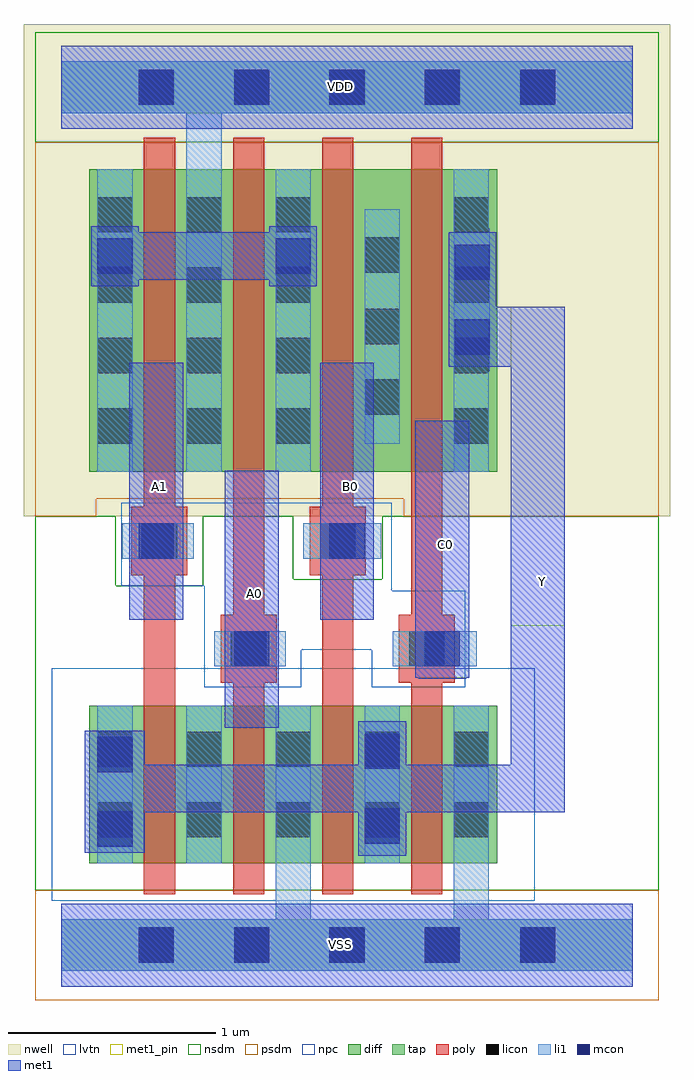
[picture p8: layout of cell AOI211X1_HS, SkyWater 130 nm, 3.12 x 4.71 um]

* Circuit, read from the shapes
.subckt AOI211X1_HS A0 A1 B0 C0 VDD VSS Y
XM1 n1 A1 Y VSS sky130_fd_pr__nfet_01v8_lvt w=0.76 l=0.15
XM2 VSS A0 n1 VSS sky130_fd_pr__nfet_01v8_lvt w=0.76 l=0.15
XM3 Y B0 VSS VSS sky130_fd_pr__nfet_01v8_lvt w=0.76 l=0.15
XM4 VSS C0 Y VSS sky130_fd_pr__nfet_01v8_lvt w=0.76 l=0.15
XM5 VDD A1 n2 VDD sky130_fd_pr__pfet_01v8 w=1.46 l=0.15
XM6 n2 A0 VDD VDD sky130_fd_pr__pfet_01v8 w=1.46 l=0.15
XM7 n3 B0 n2 VDD sky130_fd_pr__pfet_01v8 w=1.46 l=0.15
XM8 Y C0 n3 VDD sky130_fd_pr__pfet_01v8 w=1.46 l=0.15
.ends

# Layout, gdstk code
from math import pi, radians
import gdstk
lib = gdstk.Library(unit=1e-6, precision=1e-09)
def R(c, l, rs):  # rectangles x0, y0, x1, y1
    for r in rs: c.add(gdstk.rectangle(r[:2], r[2:], *l))
def A(c, l, x, y, w, h, nx, ny, dx, dy):  # array of equal rectangles
    R(c, l, [(x+i*dx, y+j*dy, x+i*dx+w, y+j*dy+h) for i in range(nx) for j in range(ny)])
def P(c, l, *ps):  # polygons
    for p in ps: c.add(gdstk.Polygon(p, *l))
nwell = (64, 20)
diff = (65, 20)
tap = (65, 44)
poly = (66, 20)
licon = (66, 44)
li1 = (67, 20)
mcon = (67, 44)
met1_pin = (68, 16)
met1 = (68, 20)
nsdm = (93, 44)
psdm = (94, 20)
npc = (95, 20)
lvtn = (125, 44)

licondiff_c_cdns_7507217 = lib.new_cell('LICONDIFF_C_CDNS_750721774075')
R(licondiff_c_cdns_7507217, diff, [(-0.125,-0.145,0.125,0.145)])
R(licondiff_c_cdns_7507217, licon, [(-0.085,-0.085,0.085,0.085), (-0.085,-0.085,0.085,0.085)])

l1m1_c_cdns_750721774072 = lib.new_cell('L1M1_C_CDNS_750721774072')
R(l1m1_c_cdns_750721774072, li1, [(-0.085,-0.165,0.085,0.165)])
R(l1m1_c_cdns_750721774072, mcon, [(-0.085,-0.085,0.085,0.085)])
R(l1m1_c_cdns_750721774072, met1, [(-0.115,-0.145,0.115,0.145)])

l1m1_c_cdns_750721774071 = lib.new_cell('L1M1_C_CDNS_7507217740714')
R(l1m1_c_cdns_750721774071, li1, [(-0.345,-0.085,0.345,0.085)])
R(l1m1_c_cdns_750721774071, mcon, [(-0.265,-0.085,-0.095,0.085), (0.095,-0.085,0.265,0.085)])
R(l1m1_c_cdns_750721774071, met1, [(-0.295,-0.145,0.295,0.145)])

l1m1_c_cdns_750721774076 = lib.new_cell('L1M1_C_CDNS_750721774076')
R(l1m1_c_cdns_750721774076, li1, [(-0.085,-0.345,0.085,0.345)])
R(l1m1_c_cdns_750721774076, mcon, [(-0.085,-0.265,0.085,-0.095), (-0.085,0.095,0.085,0.265)])
R(l1m1_c_cdns_750721774076, met1, [(-0.115,-0.325,0.115,0.325)])

l1m1_c_cdns_750721774074 = lib.new_cell('L1M1_C_CDNS_750721774074')
R(l1m1_c_cdns_750721774074, li1, [(-0.165,-0.085,0.165,0.085)])
R(l1m1_c_cdns_750721774074, mcon, [(-0.085,-0.085,0.085,0.085)])
R(l1m1_c_cdns_750721774074, met1, [(-0.115,-0.145,0.115,0.145)])

pyl1con_c_cdns_750721774 = lib.new_cell('PYL1CON_C_CDNS_750721774073')
R(pyl1con_c_cdns_750721774, poly, [(-0.135,-0.165,0.135,0.165)])
R(pyl1con_c_cdns_750721774, licon, [(-0.085,-0.085,0.085,0.085)])
R(pyl1con_c_cdns_750721774, npc, [(-0.185,-0.185,0.185,0.185)])

aoi211x1_hs = lib.new_cell('AOI211X1_HS')
R(aoi211x1_hs, nwell, [(-0.18,2.07,2.94,4.305), (-0.045,2.105,0.785,3.925), (0.425,2.105,1.385,3.925), (1.025,2.105,1.815,3.925), (1.455,2.105,2.285,3.925), (-0.18,3.875,2.94,4.445)])
A(aoi211x1_hs, diff, 0.4, 0.395, 0.15, 0.76, 4, 1, 0.43, 0)
A(aoi211x1_hs, diff, 0.4, 2.285, 0.15, 1.46, 4, 1, 0.43, 0)
R(aoi211x1_hs, diff, [(0.135,0.395,0.4,1.155), (0.55,0.395,0.605,1.155), (0.605,0.395,0.83,1.155), (0.98,0.395,1.205,1.155), (1.205,0.395,1.26,1.155), (1.41,0.395,1.635,1.155), (1.635,0.395,1.69,1.155), (1.84,0.395,2.105,1.155), (0.135,2.285,0.4,3.745), (0.55,2.285,0.605,3.745), (0.605,2.285,0.83,3.745), (0.98,2.285,1.205,3.745), (1.205,2.285,1.26,3.745), (1.41,2.285,1.635,3.745), (1.635,2.285,1.69,3.745), (1.84,2.285,2.105,3.745)])
A(aoi211x1_hs, poly, 0.4, 0.245, 0.15, 0.055, 4, 2, 0.43, 1.005)
A(aoi211x1_hs, poly, 0.4, 0.3, 0.15, 0.095, 4, 2, 0.43, 0.855)
A(aoi211x1_hs, poly, 0.4, 0.395, 0.15, 0.76, 4, 1, 0.43, 0)
A(aoi211x1_hs, poly, 0.4, 2.135, 0.15, 0.055, 4, 2, 0.43, 1.705)
A(aoi211x1_hs, poly, 0.4, 2.19, 0.15, 0.095, 4, 2, 0.43, 1.555)
A(aoi211x1_hs, poly, 0.4, 2.285, 0.15, 1.46, 4, 1, 0.43, 0)
A(aoi211x1_hs, licon, 0.375, -0.085, 0.17, 0.17, 5, 2, 0.46, 4.14)
A(aoi211x1_hs, licon, 1.035, 0.52, 0.17, 0.17, 3, 2, 0.43, 0.34)
A(aoi211x1_hs, licon, 0.175, 2.42, 0.17, 0.17, 3, 4, 0.43, 0.34)
A(aoi211x1_hs, licon, 1.895, 2.42, 0.17, 0.17, 1, 4, 0, 0.34)
R(aoi211x1_hs, licon, [(0.175,0.52,0.345,0.69), (0.175,0.86,0.345,1.03)])
A(aoi211x1_hs, li1, 1.035, 0.395, 0.17, 0.76, 3, 1, 0.43, 0)
A(aoi211x1_hs, li1, 0.175, 2.285, 0.17, 1.46, 3, 1, 0.43, 0)
R(aoi211x1_hs, li1, [(0.175,0.395,0.345,1.155), (1.895,2.285,2.065,3.745)])
A(aoi211x1_hs, mcon, 0.375, -0.085, 0.17, 0.17, 5, 2, 0.46, 4.14)
R(aoi211x1_hs, met1_pin, [(0.79,1.05,1.05,2.29), (1.71,1.29,1.97,2.53), (2.17,1.54,2.43,3.08), (0.33,1.57,0.59,2.81), (1.25,1.57,1.51,2.81)])
R(aoi211x1_hs, met1, [(1.87,2.79,2.43,3.08)])
R(aoi211x1_hs, nsdm, [(-0.005,0.265,0.615,1.285), (0.595,0.265,1.215,1.285), (1.195,0.265,1.645,1.285), (1.625,0.265,2.245,1.285), (-0.125,3.875,2.885,4.405), (-0.125,3.93,2.885,4.35)])
P(aoi211x1_hs, nsdm, [(2.885,2.07),(1.55,2.07),(1.55,1.765),(1.12,1.765),(1.12,2.07),(0.685,2.07),(0.685,1.735),(0.265,1.735),(0.265,2.07),(-0.125,2.07),(-0.125,0.265),(2.885,0.265)])
R(aoi211x1_hs, psdm, [(-0.125,-0.265,2.885,0.265), (-0.125,-0.21,2.885,0.21), (-0.005,2.155,0.615,3.875), (0.595,2.155,1.215,3.875), (1.195,2.155,1.645,3.875), (1.625,2.155,2.245,3.875)])
P(aoi211x1_hs, psdm, [(2.885,3.875),(-0.125,3.875),(-0.125,2.07),(0.17,2.07),(0.17,2.155),(1.655,2.155),(1.655,2.07),(2.885,2.07)])
P(aoi211x1_hs, npc, [(1.95,1.71),(1.595,1.71),(1.595,2.135),(0.29,2.135),(0.29,1.735),(0.69,1.735),(0.69,1.245),(1.16,1.245),(1.16,1.425),(1.5,1.425),(1.5,1.245),(1.95,1.245)])
R(aoi211x1_hs, lvtn, [(-0.045,0.215,0.785,1.335), (0.425,0.215,1.385,1.335), (1.025,0.215,1.815,1.335), (1.455,0.215,2.285,1.335)])
aoi211x1_hs.add(gdstk.FlexPath([(0,0),(2.76,0)], 0.25, ends="flush", simple_path=True, layer=65, datatype=44))  # tap
aoi211x1_hs.add(gdstk.FlexPath([(0,4.14),(2.76,4.14)], 0.25, ends="flush", simple_path=True, layer=65, datatype=44))  # tap
aoi211x1_hs.add(gdstk.FlexPath([(1.765,2.27),(1.765,1.295)], 0.15, ends="flush", simple_path=True, layer=66, datatype=20))  # poly
aoi211x1_hs.add(gdstk.FlexPath([(0.475,2.27),(0.475,1.15)], 0.15, ends="flush", simple_path=True, layer=66, datatype=20))  # poly
aoi211x1_hs.add(gdstk.FlexPath([(0.905,2.27),(0.905,1.19)], 0.15, ends="flush", simple_path=True, layer=66, datatype=20))  # poly
aoi211x1_hs.add(gdstk.FlexPath([(1.335,2.27),(1.335,1.235)], 0.15, ends="flush", simple_path=True, layer=66, datatype=20))  # poly
aoi211x1_hs.add(gdstk.FlexPath([(1.98,0.59),(1.98,0)], 0.17, ends="flush", simple_path=True, layer=67, datatype=20))  # li1
aoi211x1_hs.add(gdstk.FlexPath([(1.12,0.59),(1.12,0)], 0.17, ends="flush", simple_path=True, layer=67, datatype=20))  # li1
aoi211x1_hs.add(gdstk.FlexPath([(2.47,0),(2.76,0)], 0.25, ends=(0.085, 0), simple_path=True, layer=67, datatype=20))  # li1
aoi211x1_hs.add(gdstk.FlexPath([(1.61,0),(2.47,0)], 0.25, ends=(0.085, 0.085), simple_path=True, layer=67, datatype=20))  # li1
aoi211x1_hs.add(gdstk.FlexPath([(0.69,0),(1.61,0)], 0.25, ends=(0.085, 0.085), simple_path=True, layer=67, datatype=20))  # li1
aoi211x1_hs.add(gdstk.FlexPath([(0,0),(0.69,0)], 0.25, ends=(0, 0.085), simple_path=True, layer=67, datatype=20))  # li1
aoi211x1_hs.add(gdstk.FlexPath([(0.69,3.55),(0.69,4.14)], 0.17, ends=(0, 0.125), simple_path=True, layer=67, datatype=20))  # li1
aoi211x1_hs.add(gdstk.FlexPath([(1.84,1.43),(1.6,1.43)], 0.17, ends="flush", simple_path=True, layer=67, datatype=20))  # li1
aoi211x1_hs.add(gdstk.FlexPath([(1.38,1.95),(1.17,1.95)], 0.17, ends="flush", simple_path=True, layer=67, datatype=20))  # li1
aoi211x1_hs.add(gdstk.FlexPath([(0.69,0.825),(0.69,1.14)], 0.17, ends="flush", simple_path=True, layer=67, datatype=20))  # li1
aoi211x1_hs.add(gdstk.FlexPath([(2.47,4.14),(2.76,4.14)], 0.25, ends=(0.085, 0), simple_path=True, layer=67, datatype=20))  # li1
aoi211x1_hs.add(gdstk.FlexPath([(0.92,1.43),(0.74,1.43)], 0.17, ends="flush", simple_path=True, layer=67, datatype=20))  # li1
aoi211x1_hs.add(gdstk.FlexPath([(0.46,1.95),(0.64,1.95)], 0.17, ends="flush", simple_path=True, layer=67, datatype=20))  # li1
aoi211x1_hs.add(gdstk.FlexPath([(1.61,4.14),(2.47,4.14)], 0.25, ends=(0.085, 0.085), simple_path=True, layer=67, datatype=20))  # li1
aoi211x1_hs.add(gdstk.FlexPath([(0.69,0.71),(0.69,1.155)], 0.17, ends="flush", simple_path=True, layer=67, datatype=20))  # li1
aoi211x1_hs.add(gdstk.FlexPath([(0,4.14),(0.69,4.14)], 0.25, ends=(0, 0.085), simple_path=True, layer=67, datatype=20))  # li1
aoi211x1_hs.add(gdstk.FlexPath([(0.69,4.14),(1.61,4.14)], 0.25, ends=(0.085, 0.085), simple_path=True, layer=67, datatype=20))  # li1
aoi211x1_hs.add(gdstk.FlexPath([(1.55,2.42),(1.55,3.55)], 0.17, ends="flush", simple_path=True, layer=67, datatype=20))  # li1
aoi211x1_hs.add(gdstk.FlexPath([(0.69,0.395),(0.69,0.71)], 0.17, ends="flush", simple_path=True, layer=67, datatype=20))  # li1
aoi211x1_hs.add(gdstk.FlexPath([(0,0),(2.76,0)], 0.4, ends="flush", simple_path=True, layer=68, datatype=20))  # met1
aoi211x1_hs.add(gdstk.FlexPath([(0,4.14),(2.76,4.14)], 0.4, ends="flush", simple_path=True, layer=68, datatype=20))  # met1
aoi211x1_hs.add(gdstk.FlexPath([(1.55,0.755),(0.26,0.755)], 0.23, ends="flush", simple_path=True, layer=68, datatype=20))  # met1
aoi211x1_hs.add(gdstk.FlexPath([(2.3,0.785),(2.3,0.64)], 0.26, ends=(0.145, 0), simple_path=True, layer=68, datatype=20))  # met1
aoi211x1_hs.add(gdstk.FlexPath([(0.46,2.81),(0.46,1.57)], 0.26, ends="flush", simple_path=True, layer=68, datatype=20))  # met1
aoi211x1_hs.add(gdstk.FlexPath([(1.38,2.81),(1.38,1.57)], 0.26, ends="flush", simple_path=True, layer=68, datatype=20))  # met1
aoi211x1_hs.add(gdstk.FlexPath([(1.84,2.53),(1.84,1.29)], 0.26, ends="flush", simple_path=True, layer=68, datatype=20))  # met1
aoi211x1_hs.add(gdstk.FlexPath([(0.92,2.29),(0.92,1.05)], 0.26, ends="flush", simple_path=True, layer=68, datatype=20))  # met1
aoi211x1_hs.add(gdstk.FlexPath([(0.26,3.325),(1.12,3.325)], 0.23, ends="flush", simple_path=True, layer=68, datatype=20))  # met1
aoi211x1_hs.add(gdstk.FlexPath([(2.135,0.755),(1.55,0.755)], 0.23, ends=(0.115, 0), simple_path=True, layer=68, datatype=20))  # met1
aoi211x1_hs.add(gdstk.FlexPath([(2.3,3.08),(2.3,0.785)], 0.26, ends=(0, 0.145), simple_path=True, layer=68, datatype=20))  # met1
aoi211x1_hs.add(gdstk.FlexPath([(0,4.14),(2.76,4.14)], 0.4, ends="flush", simple_path=True, layer=68, datatype=16))  # met1_pin
aoi211x1_hs.add(gdstk.FlexPath([(0,0),(2.76,0)], 0.4, ends="flush", simple_path=True, layer=68, datatype=16))  # met1_pin
aoi211x1_hs.add(gdstk.Reference(licondiff_c_cdns_7507217, (1.55,2.645)))
aoi211x1_hs.add(gdstk.Reference(licondiff_c_cdns_7507217, (0.69,0.945)))
aoi211x1_hs.add(gdstk.Reference(licondiff_c_cdns_7507217, (0.69,0.605)))
aoi211x1_hs.add(gdstk.Reference(licondiff_c_cdns_7507217, (1.55,2.985)))
aoi211x1_hs.add(gdstk.Reference(licondiff_c_cdns_7507217, (1.55,3.33)))
aoi211x1_hs.add(gdstk.Reference(l1m1_c_cdns_750721774072, (1.12,3.325)))
aoi211x1_hs.add(gdstk.Reference(l1m1_c_cdns_750721774072, (0.26,3.325)))
aoi211x1_hs.add(gdstk.Reference(l1m1_c_cdns_750721774071, (0.26,0.74), rotation=pi/2))
aoi211x1_hs.add(gdstk.Reference(l1m1_c_cdns_750721774076, (1.985,3.115), x_reflection=True))
aoi211x1_hs.add(gdstk.Reference(l1m1_c_cdns_750721774076, (1.55,0.755), x_reflection=True))
aoi211x1_hs.add(gdstk.Reference(l1m1_c_cdns_750721774074, (1.38,1.95)))
aoi211x1_hs.add(gdstk.Reference(l1m1_c_cdns_750721774074, (0.46,1.95)))
aoi211x1_hs.add(gdstk.Reference(l1m1_c_cdns_750721774074, (0.92,1.43)))
aoi211x1_hs.add(gdstk.Reference(l1m1_c_cdns_750721774074, (1.84,1.43)))
aoi211x1_hs.add(gdstk.Reference(pyl1con_c_cdns_750721774, (0.905,1.43), x_reflection=True))
aoi211x1_hs.add(gdstk.Reference(pyl1con_c_cdns_750721774, (1.335,1.95), x_reflection=True))
aoi211x1_hs.add(gdstk.Reference(pyl1con_c_cdns_750721774, (0.475,1.95), x_reflection=True))
aoi211x1_hs.add(gdstk.Reference(pyl1con_c_cdns_750721774, (1.765,1.43), x_reflection=True))
aoi211x1_hs.add(gdstk.Label('VDD', (1.35,4.145), layer=68, texttype=5))
aoi211x1_hs.add(gdstk.Label('Y', (2.325,1.755), layer=68, texttype=5))
aoi211x1_hs.add(gdstk.Label('C0', (1.855,1.935), layer=68, texttype=5))
aoi211x1_hs.add(gdstk.Label('VSS', (1.35,0.005), layer=68, texttype=5))
aoi211x1_hs.add(gdstk.Label('B0', (1.395,2.215), layer=68, texttype=5))
aoi211x1_hs.add(gdstk.Label('A0', (0.935,1.695), layer=68, texttype=5))
aoi211x1_hs.add(gdstk.Label('A1', (0.475,2.215), layer=68, texttype=5))

lib.write_gds('AOI211X1_HS.gds')
